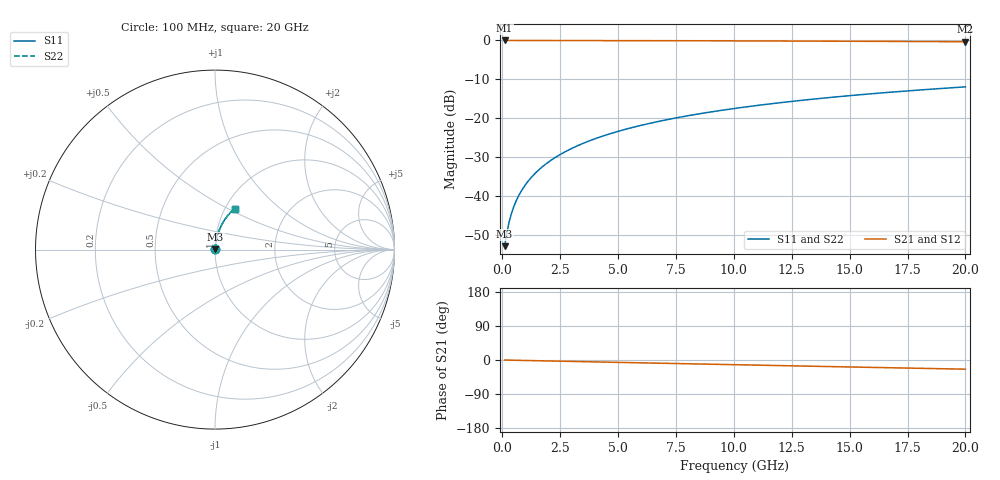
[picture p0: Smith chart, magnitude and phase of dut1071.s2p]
! Touchstone file exported from HFSS 2026.1.0
!  File:  C:/ffzhzh/LocalFiles/Ansys_Project_Files/temp_train_BSMRDL_1071_1783174267_43440.aedt
!  Generated:  10:12:21 PM Jul  4, 2026
!  Design:  BSMRDL
!  Project:  temp_train_BSMRDL_1071_1783174267_43440
! Variables:
!  h_bsmrdl = 2.88um
!  h_ox = 20um
!  h_rdl = 5um
!  h_sub = 80um
!  h_tmrdl = 5um
!  h_tsv = 80um
!  h_via = 3um
!  l_bsmrdl = 298.27um
!  l_sub = 698.27um
!  l_tmrdl = 200um
!  m_sub = 200um
!  pitch = 56.4um
!  r_tsv = 6um
!  s_tmrdl = 10um
!  w_bsmrdl = 25.05um
!  w_sub = 500um
!  w_tmrdl = 12um
!  x_tsv_center1 = 206um
!  x_tsv_center2 = 529.32um
!  x_tsv_center3 = 741.32um
!  x_tsv_center4 = 1064.64um
!  x_tsv_center5 = 1276.64um
!  x_tsv_center6 = 1599.96um
# GHz S MA R 50.000000
! Terminal data exported
! Port[1] = BSM_RDL1_1_T1
! Port[2] = BSM_RDL1_1_T2
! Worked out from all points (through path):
!   200 points, 100 MHz to 20 GHz, reference 50 ohm
!   highest |S21| = -0.02 dB at 100 MHz (marker M1); lowest = -0.3 dB at 20 GHz (marker M2)
!   group delay of S21, straight-line fit = 3.37 ps
!   lowest |S11| = -52.8 dB at 100 MHz (marker M3), VSWR 1.00, Z = 50.2 + j0.149 ohm
!   |S11| at or under -10 dB: start of sweep to end of sweep
!   |S22| runs from -52.8 to -11.9 dB; largest |S21 - S12| = 2.6e-15
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0.1  0.002299 40.3  0.9982 -0.1  0.9982 -0.1  0.002299 40.3
! Gamma 0 0 0 0
! Port Impedance 50 0 50 0
0.2  0.003468 58.2  0.9982 -0.3  0.9982 -0.3  0.003468 58.2
0.3  0.004772 66.2  0.9981 -0.4  0.9981 -0.4  0.004772 66.2
0.4  0.006098 70.6  0.998 -0.5  0.998 -0.5  0.006098 70.6
0.5  0.007428 73.4  0.9979 -0.6  0.9979 -0.6  0.007428 73.4
0.6  0.008758 75.4  0.9979 -0.8  0.9979 -0.8  0.008758 75.4
0.8  0.01142 78.0  0.9978 -1.0  0.9978 -1.0  0.01142 78.0
1.1  0.01545 80.3  0.9976 -1.4  0.9976 -1.4  0.01545 80.3
1.5  0.02085 81.8  0.9975 -1.9  0.9975 -1.9  0.02085 81.8
1.8  0.02492 82.3  0.9974 -2.3  0.9974 -2.3  0.02492 82.3
2.1  0.02899 82.6  0.9972 -2.6  0.9972 -2.6  0.02899 82.6
2.7  0.03714 82.8  0.9968 -3.4  0.9968 -3.4  0.03714 82.8
3.5  0.04798 82.5  0.9962 -4.4  0.9962 -4.4  0.04798 82.5
4.2  0.05744 82.0  0.9956 -5.3  0.9956 -5.3  0.05744 82.0
5  0.06819 81.3  0.9947 -6.3  0.9947 -6.3  0.06819 81.3
5.9  0.08022 80.4  0.9936 -7.4  0.9936 -7.4  0.08022 80.4
6.8  0.09215 79.4  0.9924 -8.5  0.9924 -8.5  0.09215 79.4
8.3  0.1118 77.7  0.99 -10.3  0.99 -10.3  0.1118 77.7
10.1  0.135 75.7  0.9866 -12.5  0.9866 -12.5  0.135 75.7
13.4  0.1763 71.9  0.9794 -16.5  0.9794 -16.5  0.1763 71.9
16.7  0.2159 68.1  0.9708 -20.4  0.9708 -20.4  0.2159 68.1
20  0.2536 64.4  0.9612 -24.2  0.9612 -24.2  0.2536 64.4
